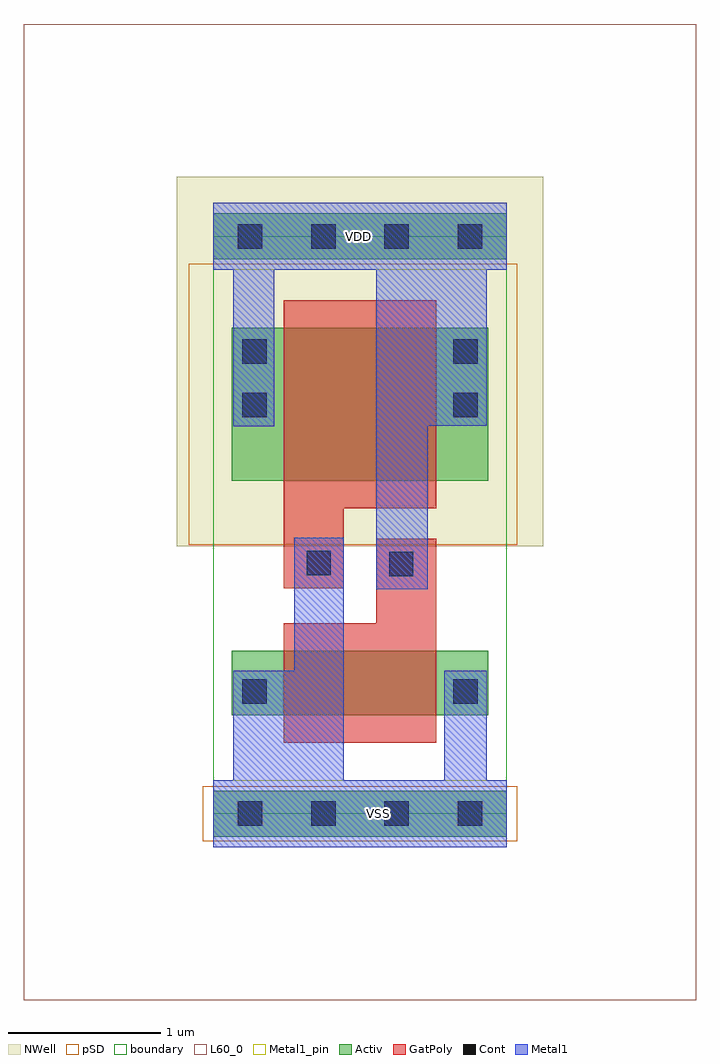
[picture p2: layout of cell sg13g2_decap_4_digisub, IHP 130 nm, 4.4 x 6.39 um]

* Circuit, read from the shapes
.subckt sg13g2_decap_4_digisub VDD VSS
XM1 VSS VDD VSS VSS sg13_lv_nmos w=0.42u l=1u
XM2 VDD VSS VDD VDD sg13_lv_pmos w=1u l=1u
.ends

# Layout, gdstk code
import gdstk
lib = gdstk.Library(unit=1e-6, precision=1e-09)
def R(c, l, rs):  # rectangles x0, y0, x1, y1
    for r in rs: c.add(gdstk.rectangle(r[:2], r[2:], *l))
def A(c, l, x, y, w, h, nx, ny, dx, dy):  # array of equal rectangles
    R(c, l, [(x+i*dx, y+j*dy, x+i*dx+w, y+j*dy+h) for i in range(nx) for j in range(ny)])
def P(c, l, *ps):  # polygons
    for p in ps: c.add(gdstk.Polygon(p, *l))
Activ = (1, 0)
GatPoly = (5, 0)
Cont = (6, 0)
Metal1 = (8, 0)
Metal1_pin = (8, 2)
pSD = (14, 0)
NWell = (31, 0)
L60_0 = (60, 0)
boundary = (189, 4)

sg13g2_decap_4_digisub = lib.new_cell('sg13g2_decap_4_digisub')
R(sg13g2_decap_4_digisub, Activ, [(0,-0.15,1.92,0.15), (0.12,0.645,1.8,1.065), (0.12,2.18,1.8,3.18), (0,3.63,1.92,3.93)])
P(sg13g2_decap_4_digisub, GatPoly, [(1.46,3.36),(0.46,3.36),(0.46,1.475),(0.855,1.475),(0.855,2),(1.46,2)],
  [(1.46,1.8),(1.065,1.8),(1.065,1.245),(0.46,1.245),(0.46,0.465),(1.46,0.465)])
A(sg13g2_decap_4_digisub, Cont, 0.16, -0.08, 0.16, 0.16, 4, 2, 0.48, 3.78)
R(sg13g2_decap_4_digisub, Cont, [(0.19,0.72,0.35,0.88), (1.57,0.72,1.73,0.88), (1.15,1.555,1.31,1.715), (0.61,1.56,0.77,1.72), (0.19,2.595,0.35,2.755), (1.57,2.595,1.73,2.755), (0.19,2.945,0.35,3.105), (1.57,2.945,1.73,3.105)])
P(sg13g2_decap_4_digisub, Metal1, [(1.92,0.22),(1.79,0.22),(1.79,0.935),(1.51,0.935),(1.51,0.22),(0.855,0.22),(0.855,1.805),(0.53,1.805),(0.53,0.935),(0.13,0.935),(0.13,0.22),(0,0.22),(0,-0.22),(1.92,-0.22)],
  [(1.92,4),(0,4),(0,3.56),(0.13,3.56),(0.13,2.535),(0.4,2.535),(0.4,3.56),(1.065,3.56),(1.065,1.47),(1.405,1.47),(1.405,2.54),(1.79,2.54),(1.79,3.56),(1.92,3.56)])
R(sg13g2_decap_4_digisub, Metal1_pin, [(0,-0.22,1.92,0.22), (0,3.56,1.92,4)])
R(sg13g2_decap_4_digisub, pSD, [(-0.07,-0.18,1.99,0.18), (-0.16,1.76,1.99,3.6)])
R(sg13g2_decap_4_digisub, NWell, [(-0.24,1.75,2.16,4.17)])
R(sg13g2_decap_4_digisub, L60_0, [(-1.24,-1.22,3.16,5.17)])
R(sg13g2_decap_4_digisub, boundary, [(0,0,1.92,3.78)])
sg13g2_decap_4_digisub.add(gdstk.Label('VDD', (0.95,3.78), layer=8, texttype=25))
sg13g2_decap_4_digisub.add(gdstk.Label('VSS', (1.08,0), layer=8, texttype=25))

lib.write_gds('sg13g2_decap_4_digisub.gds')
